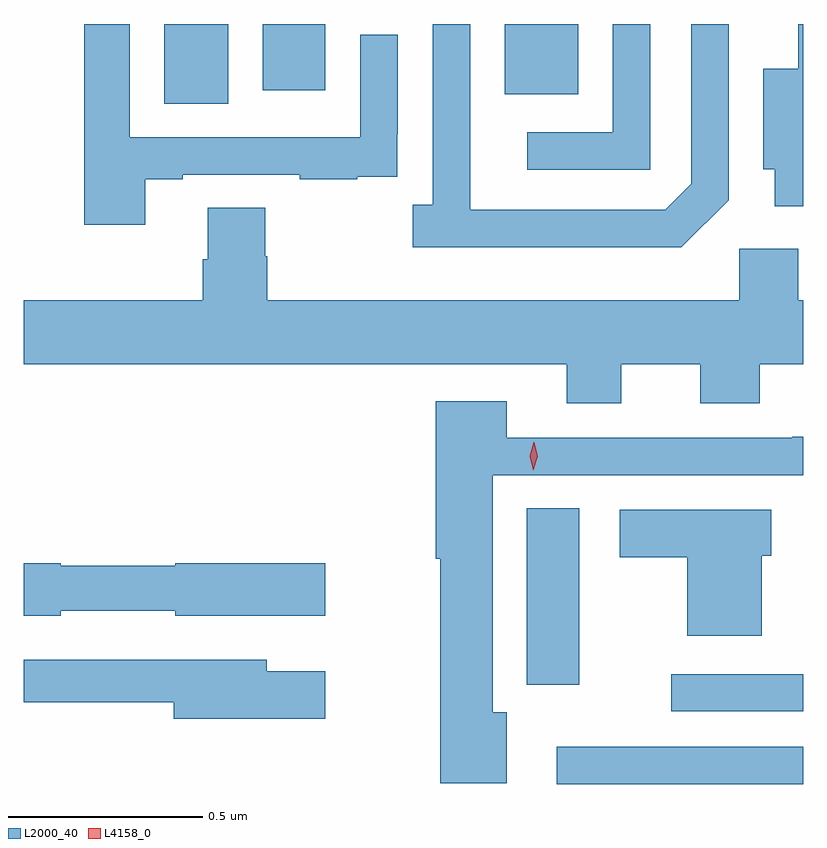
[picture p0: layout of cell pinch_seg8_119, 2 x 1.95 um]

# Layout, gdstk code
import gdstk
lib = gdstk.Library(unit=1e-6, precision=1e-09)
def R(c, l, rs):  # rectangles x0, y0, x1, y1
    for r in rs: c.add(gdstk.rectangle(r[:2], r[2:], *l))
def P(c, l, *ps):  # polygons
    for p in ps: c.add(gdstk.Polygon(p, *l))
L2000_40 = (2000, 40)
L4158_0 = (4158, 0)

pinch_seg8_119 = lib.new_cell('pinch_seg8_119')
R(pinch_seg8_119, L2000_40, [(1054.548,1120.752,1055.181,1120.848), (1054.842,1120.938,1055.181,1121.034), (1054.472,1121.007,1054.606,1121.459), (1053.542,1122.496,1053.706,1122.701), (1054.415,1122.521,1054.603,1122.701), (1053.794,1122.531,1053.955,1122.701)])
P(pinch_seg8_119, L2000_40, [(1055.181,1122.701),(1055.168,1122.701),(1055.168,1122.586),(1055.078,1122.586),(1055.078,1122.329),(1055.108,1122.329),(1055.108,1122.234),(1055.181,1122.234)],
  [(1054.788,1122.701),(1054.692,1122.701),(1054.692,1122.423),(1054.473,1122.423),(1054.473,1122.327),(1054.788,1122.327)],
  [(1054.989,1122.249),(1054.989,1122.701),(1054.893,1122.701),(1054.893,1122.291),(1054.827,1122.225),(1054.327,1122.225),(1054.327,1122.425),(1054.326,1122.425),(1054.326,1122.701),(1054.23,1122.701),(1054.23,1122.238),(1054.179,1122.238),(1054.179,1122.128),(1054.868,1122.128)],
  [(1053.493,1122.303),(1053.589,1122.303),(1053.589,1122.315),(1053.889,1122.315),(1053.889,1122.303),(1054.037,1122.303),(1054.037,1122.309),(1054.139,1122.309),(1054.139,1122.418),(1054.14,1122.418),(1054.14,1122.673),(1054.044,1122.673),(1054.044,1122.411),(1053.453,1122.411),(1053.453,1122.701),(1053.337,1122.701),(1053.337,1122.186),(1053.493,1122.186)],
  [(1054.714,1121.828),(1054.916,1121.828),(1054.916,1121.729),(1055.069,1121.729),(1055.069,1121.828),(1055.181,1121.828),(1055.181,1121.992),(1055.168,1121.992),(1055.168,1122.124),(1055.016,1122.124),(1055.016,1121.992),(1053.806,1121.992),(1053.806,1122.105),(1053.801,1122.105),(1053.801,1122.23),(1053.653,1122.23),(1053.653,1122.098),(1053.641,1122.098),(1053.641,1121.992),(1053.181,1121.992),(1053.181,1121.828),(1054.574,1121.828),(1054.574,1121.729),(1054.714,1121.729)],
  [(1054.42,1120.936),(1054.384,1120.936),(1054.384,1121.544),(1055.181,1121.544),(1055.181,1121.642),(1055.152,1121.642),(1055.152,1121.64),(1054.42,1121.64),(1054.42,1121.734),(1054.238,1121.734),(1054.238,1121.33),(1054.25,1121.33),(1054.25,1120.754),(1054.42,1120.754)],
  [(1055.074,1121.337),(1055.098,1121.337),(1055.098,1121.455),(1054.71,1121.455),(1054.71,1121.333),(1054.883,1121.333),(1054.883,1121.132),(1055.074,1121.132)],
  [(1053.276,1121.196),(1053.57,1121.196),(1053.57,1121.183),(1053.955,1121.183),(1053.955,1121.318),(1053.57,1121.318),(1053.57,1121.312),(1053.276,1121.312),(1053.276,1121.318),(1053.181,1121.318),(1053.181,1121.183),(1053.276,1121.183)],
  [(1053.955,1121.041),(1053.805,1121.041),(1053.805,1121.07),(1053.181,1121.07),(1053.181,1120.962),(1053.566,1120.962),(1053.566,1120.919),(1053.955,1120.919)])
P(pinch_seg8_119, L4158_0, [(1054.488,1121.557),(1054.488,1121.557),(1054.479,1121.593),(1054.49,1121.629),(1054.49,1121.629),(1054.491,1121.629),(1054.499,1121.592),(1054.488,1121.557)])

lib.write_gds('pinch_seg8_119.gds')
